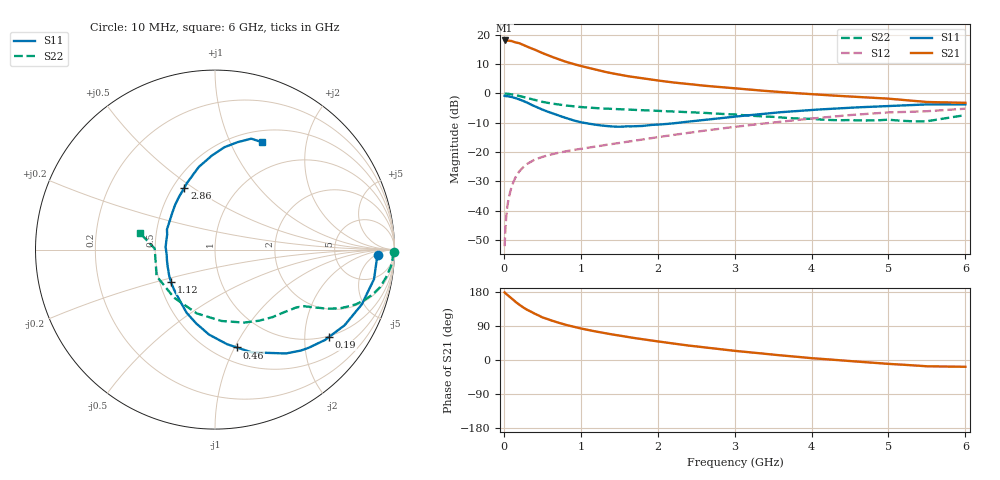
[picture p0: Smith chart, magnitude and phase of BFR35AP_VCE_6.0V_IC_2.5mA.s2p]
! Infineon Technologies  Discrete & RF Semiconductors
! BFR35AP
! VCE =  6.0 V,  IC =  2.5 mA
! Common Emitter S-Parameters:  Nov 2015
# GHz  S  MA  R  50
!  f  S11  S21  S12  S22
! GHz  MAG  ANG  MAG  ANG  MAG  ANG  MAG  ANG
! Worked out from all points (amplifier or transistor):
!   210 points, 10 MHz to 6 GHz, reference 50 ohm
!   highest |S21| = 18.1 dB at 10 MHz (marker M1)
!   |S21| within 3 dB of that: start of sweep to 388.3 MHz
!   unconditionally stable (mu >= 1): 1.115 GHz to 3.391 GHz
!   at 185 MHz: K = 0.25, MSG = 22.2 dB, |S12| = -27.2 dB
!   at 1.52 GHz: K = 1.12, MAG = 9.5 dB, |S12| = -16.8 dB
!   at 6 GHz: K = 0.94, MSG = 1.0 dB, |S12| = -5.2 dB
!   S11 on the Smith chart (normalised r, x): 10 MHz: 18, -7; 190 MHz: 0.97, -2.63; 460 MHz: 0.64, -1.02; 1.12 GHz: 0.57, -0.22; 2.86 GHz: 0.57, +0.46; 6 GHz: 0.63, +1.32
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0.01  0.9088 -2.0  7.996 178.4  0.0025 91.8  0.9978 -0.9
0.03  0.9008 -6.2  7.875 174.5  0.0076 85.1  0.9909 -2.7
0.065  0.89 -13.4  7.898 168.6  0.0168 82.4  0.9825 -5.8
0.1  0.8731 -20.5  7.827 162.6  0.0254 79.2  0.9681 -8.8
0.19  0.8002 -37.5  7.221 147.7  0.0448 69.3  0.9166 -15.5
0.24  0.7558 -46.4  6.841 140.4  0.0533 65.0  0.8802 -18.5
0.3  0.7005 -55.7  6.297 132.8  0.0626 61.7  0.8394 -21.4
0.4  0.6076 -70.4  5.588 122.3  0.0744 56.2  0.7761 -24.8
0.46  0.5588 -77.4  5.148 116.8  0.0795 54.2  0.7422 -26.2
0.5  0.5316 -82.7  4.885 112.6  0.0829 53.0  0.7199 -27.2
0.6  0.4747 -94.0  4.327 105.4  0.0901 51.0  0.6797 -28.7
0.7  0.4257 -104.0  3.877 99.0  0.0969 49.9  0.6508 -29.8
0.82  0.3782 -115.8  3.424 92.1  0.1042 49.2  0.6208 -31.0
1.02  0.3201 -135.0  2.896 82.5  0.1146 49.5  0.5845 -32.8
1.12  0.3037 -144.1  2.69 78.2  0.1205 49.8  0.5718 -34.0
1.6  0.2756 176.8  1.98 60.9  0.15 51.1  0.5319 -39.7
2.02  0.2954 150.3  1.651 48.6  0.1817 52.1  0.5043 -46.1
2.86  0.3846 116.3  1.268 27.5  0.2562 49.3  0.4463 -64.4
3.1  0.4148 110.1  1.188 22.3  0.2793 47.4  0.4274 -71.3
4.1  0.5332 90.4  0.953 3.4  0.3838 37.4  0.3609 -110.6
5.1  0.6184 76.9  0.794 -11.3  0.4792 23.0  0.3477 -160.4
6  0.6527 66.6  0.692 -17.9  0.5499 11.8  0.4274 167.7
